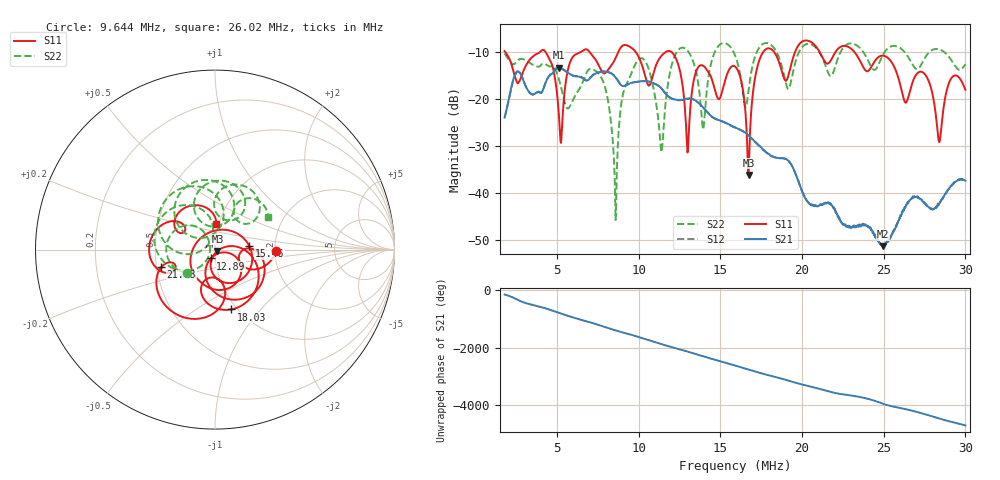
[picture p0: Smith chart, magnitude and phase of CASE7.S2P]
!Agilent Technologies,E5061B,MY49101568,A.02.00
!Date: Wed Mar 01 12:22:38 2023
!Data & Calibration Information:
!Freq	S11:SOLT2(OFF)	S21:SOLT2(OFF)	S12:SOLT2(OFF)	S22:SOLT2(OFF)
# Hz S dB R 50
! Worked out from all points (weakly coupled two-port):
!   1155 points, 1.8 MHz to 30 MHz, reference 50 ohm
!   highest |S21| = -13.36 dB at 5.099 MHz (marker M1); lowest = -51.4 dB at 24.97 MHz (marker M2)
!   lowest |S11| = -36.2 dB at 16.73 MHz (marker M3), VSWR 1.03, Z = 51.3 - j0.805 ohm
!   |S11| at or under -10 dB: 4.306 MHz to 6.469 MHz (2.162 MHz wide, 40.1 % of centre); 12.01 MHz to 17.63 MHz (5.613 MHz wide, 37.9 % of centre); 23.21 MHz to end of sweep (the widest 3 of 8)
!   |S22| runs from -45.8 to -8.1 dB; largest |S21 - S12| = 0.0036
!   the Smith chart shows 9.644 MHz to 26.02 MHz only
!   S11 on the Smith chart (normalised r, x): 9.644 MHz: 2.04, -0.04; 12.89 MHz: 0.95, -0.09; 15.46 MHz: 1.47, +0.06; 18.03 MHz: 0.94, -0.71; 21.08 MHz: 0.53, -0.12; 26.02 MHz: 0.97, +0.28
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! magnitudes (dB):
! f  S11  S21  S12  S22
! 1.8 MHz  -9.8  -24.0  -24.0  -10.3
! 4.268 MHz  -9.8  -16.9  -16.9  -12.5
! 5.099 MHz  -22.3  -13.4  -13.3  -15.5
! 6.516 MHz  -9.9  -15.5  -15.4  -17.0
! 7.86 MHz  -14.5  -14.1  -14.1  -16.5
! 8.593 MHz  -11.3  -15.4  -15.4  -45.8
! 9.644 MHz  -9.3  -16.5  -16.5  -13.8
! 11.21 MHz  -11.8  -17.2  -17.2  -24.5
! 12.31 MHz  -11.6  -20.2  -20.3  -10.2
! 12.89 MHz  -25.2  -20.0  -20.1  -9.4
! 13.95 MHz  -12.9  -21.8  -21.8  -26.5
! 15.46 MHz  -14.3  -25.3  -25.4  -8.4
! 15.9 MHz  -13.1  -26.1  -26.1  -10.7
! 16.73 MHz  -36.2  -27.8  -27.8  -18.1
! 18.03 MHz  -9.2  -31.9  -32.0  -8.3
! 20.62 MHz  -8.0  -42.6  -42.6  -8.5
! 21.08 MHz  -10.0  -42.7  -42.7  -10.1
! 24.97 MHz  -10.8  -51.4  -51.1  -10.5
! 25.31 MHz  -11.4  -50.0  -50.0  -9.1
! 26.02 MHz  -17.1  -45.0  -45.1  -9.2
! 28.41 MHz  -29.2  -42.3  -42.3  -9.5
! 30 MHz  -18.1  -37.5  -37.4  -12.6
